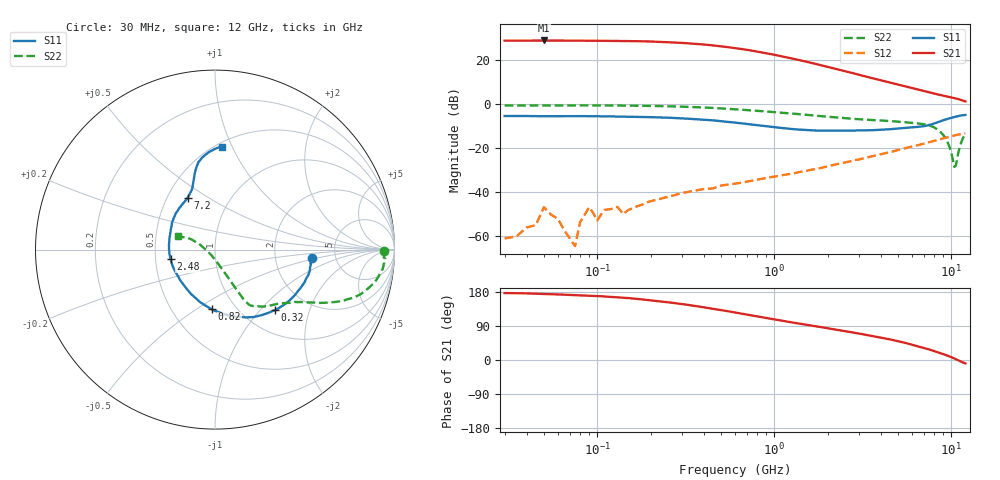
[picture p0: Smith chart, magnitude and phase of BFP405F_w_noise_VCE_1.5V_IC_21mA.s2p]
! Infineon Technologies  Discrete & RF Semiconductors
! BFP405F
! VCE =  1.5 V,  IC =  21 mA
! Common Emitter S-Parameters:  Nov 2015
# GHz  S  MA  R  50
!  f  S11  S21  S12  S22
! GHz  MAG  ANG  MAG  ANG  MAG  ANG  MAG  ANG
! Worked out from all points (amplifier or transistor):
!   239 points, 30 MHz to 12 GHz, reference 50 ohm
!   highest |S21| = 29.0 dB at 50 MHz (marker M1)
!   |S21| within 3 dB of that: start of sweep to 542.1 MHz
!   unconditionally stable (mu >= 1): start of sweep to 37.04 MHz; 60.84 MHz to 76.09 MHz; 1.273 GHz to end of sweep (the widest 3 of 4)
!   at 300 MHz: K = 0.39, MSG = 34.1 dB, |S12| = -40.3 dB
!   at 1.88 GHz: K = 1.21, MAG = 20.4 dB, |S12| = -28.6 dB
!   at 12 GHz: K = 1.45, MAG = 3.3 dB, |S12| = -13.2 dB
!   lowest NFmin = 2.30 dB at 450 MHz
!   S11 on the Smith chart (normalised r, x): 30 MHz: 3.33, -0.42; 320 MHz: 1.39, -1.21; 820 MHz: 0.78, -0.58; 2.48 GHz: 0.60, -0.07; 7.2 GHz: 0.63, +0.41; 12 GHz: 0.53, +0.91
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0.03  0.5444 -4.7  28.04 176.7  0.0009 32.2  0.9417 -0.5
0.045  0.5401 -7.1  28.22 175.0  0.0018 -2.2  0.9436 -1.6
0.05  0.5367 -8.3  28.32 174.2  0.0046 -20.0  0.9434 -2.2
0.075  0.5397 -11.2  28.01 171.1  0.0006 153.3  0.9456 -2.9
0.085  0.5401 -12.8  27.97 170.2  0.0031 116.3  0.9485 -3.6
0.1  0.5393 -15.2  27.82 168.8  0.0023 100.8  0.9465 -4.6
0.15  0.5254 -22.7  27.46 163.4  0.004 66.8  0.9356 -7.1
0.2  0.5122 -29.7  26.84 157.4  0.0063 80.3  0.9224 -9.5
0.24  0.5012 -35.0  26.02 153.5  0.0076 87.7  0.9099 -11.3
0.32  0.474 -45.2  24.51 145.9  0.0101 75.1  0.8791 -14.3
0.45  0.4336 -60.0  21.88 135.1  0.0123 74.6  0.8298 -18.3
0.6  0.3854 -75.1  18.99 125.2  0.0158 68.1  0.7739 -21.4
0.82  0.3334 -93.0  15.56 114.2  0.0198 68.7  0.7087 -24.5
1  0.3047 -105.7  13.39 107.1  0.0228 67.5  0.6659 -26.4
1.2  0.2816 -118.1  11.5 100.8  0.0258 67.9  0.6281 -28.0
1.64  0.257 -139.8  8.655 90.4  0.033 67.4  0.5652 -31.2
2.48  0.2532 -167.8  5.742 76.5  0.0473 66.8  0.4874 -37.8
4.5  0.2727 153.8  3.111 54.4  0.0826 61.3  0.4179 -49.4
7.2  0.3271 117.8  1.944 30.0  0.1319 49.7  0.3436 -59.1
9.2  0.4486 104.2  1.547 14.0  0.1726 39.3  0.1766 -64.5
10.4  0.5162 98.1  1.389 3.9  0.1972 31.8  0.038 -118.9
12  0.574 86.2  1.167 -8.8  0.2194 22.6  0.2177 160.1
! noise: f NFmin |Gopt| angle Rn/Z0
0.45  2.3  0.01  -63  0.46
0.9  2.31  0.02  -121  0.35
1.5  2.37  0.04  -124  0.41
1.9  2.45  0.05  -124  0.51
2.4  2.59  0.07  -124  0.18
3  2.69  0.08  -122  0.18
3.5  2.77  0.1  -119  0.26
4.5  3.02  0.15  -105  0.51
5.5  3.36  0.26  -88  0.5
